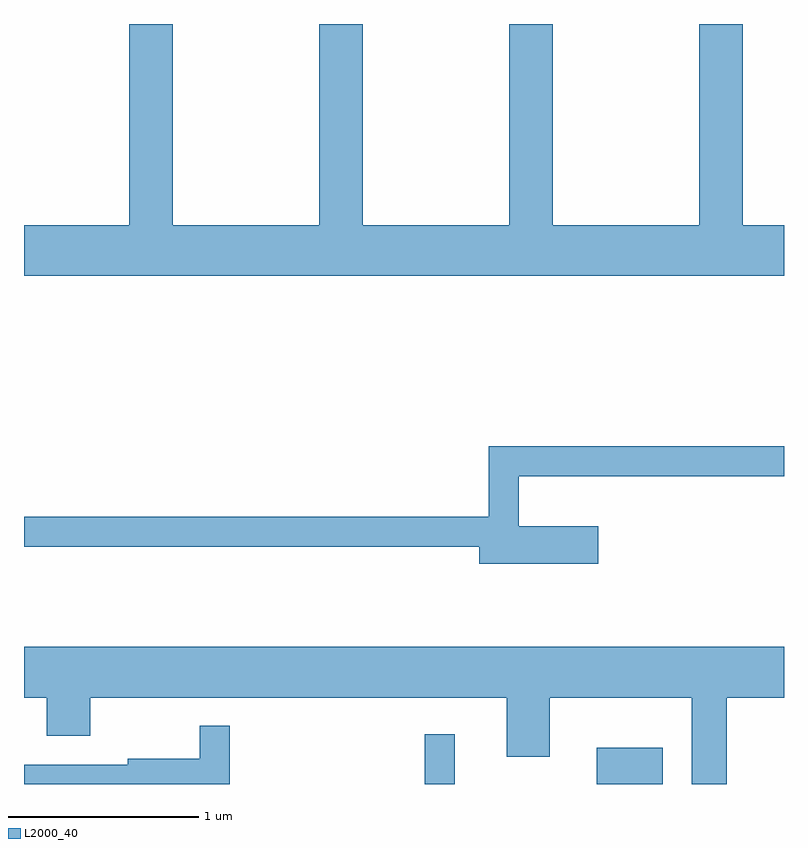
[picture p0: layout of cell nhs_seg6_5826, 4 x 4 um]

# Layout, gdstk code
import gdstk
lib = gdstk.Library(unit=1e-6, precision=1e-09)
def R(c, l, rs):  # rectangles x0, y0, x1, y1
    for r in rs: c.add(gdstk.rectangle(r[:2], r[2:], *l))
def P(c, l, *ps):  # polygons
    for p in ps: c.add(gdstk.Polygon(p, *l))
L2000_40 = (2000, 40)

nhs_seg6_5826 = lib.new_cell('nhs_seg6_5826')
R(nhs_seg6_5826, L2000_40, [(363.721,1636.162,363.879,1636.423), (364.626,1636.162,364.974,1636.354)])
P(nhs_seg6_5826, L2000_40, [(365.611,1639.104),(365.394,1639.104),(365.394,1640.162),(365.166,1640.162),(365.166,1639.104),(364.394,1639.104),(364.394,1640.162),(364.166,1640.162),(364.166,1639.104),(363.394,1639.104),(363.394,1640.162),(363.166,1640.162),(363.166,1639.104),(362.394,1639.104),(362.394,1640.162),(362.166,1640.162),(362.166,1639.104),(361.611,1639.104),(361.611,1638.836),(365.611,1638.836)],
  [(364.634,1637.519),(364.214,1637.519),(364.214,1637.781),(365.611,1637.781),(365.611,1637.939),(364.056,1637.939),(364.056,1637.569),(361.611,1637.569),(361.611,1637.411),(364.006,1637.411),(364.006,1637.321),(364.634,1637.321)],
  [(361.611,1636.616),(361.731,1636.616),(361.731,1636.416),(361.959,1636.416),(361.959,1636.616),(364.151,1636.616),(364.151,1636.306),(364.379,1636.306),(364.379,1636.616),(365.126,1636.616),(365.126,1636.162),(365.309,1636.162),(365.309,1636.616),(365.611,1636.616),(365.611,1636.884),(361.611,1636.884)],
  [(362.694,1636.468),(362.536,1636.468),(362.536,1636.294),(362.156,1636.294),(362.156,1636.264),(361.611,1636.264),(361.611,1636.162),(362.694,1636.162)])

lib.write_gds('nhs_seg6_5826.gds')
